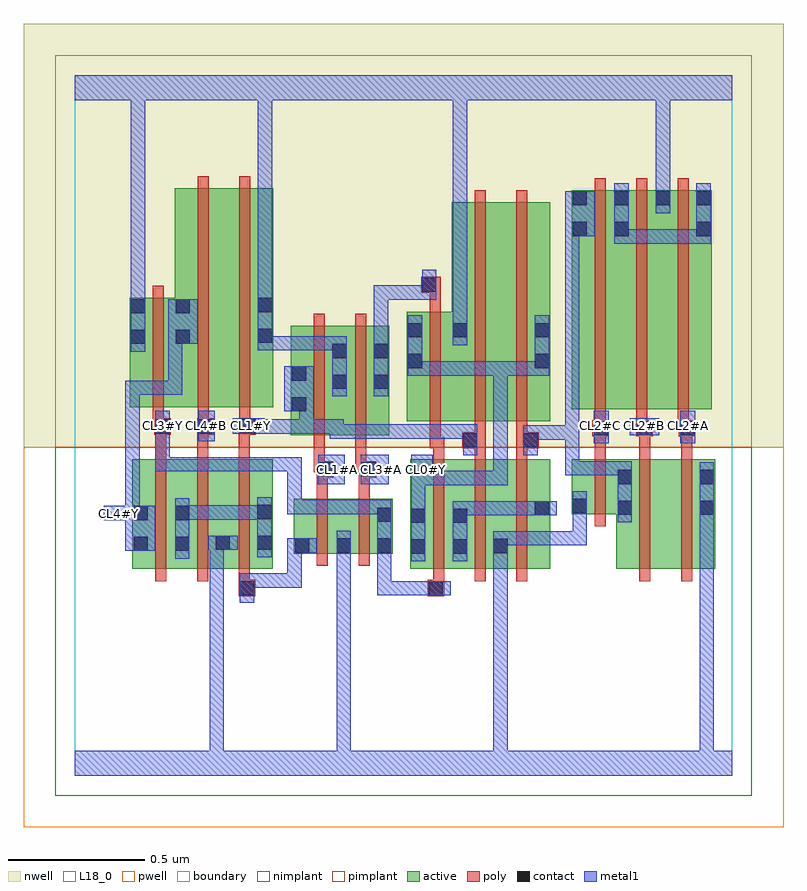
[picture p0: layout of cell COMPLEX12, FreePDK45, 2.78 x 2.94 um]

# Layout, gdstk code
import gdstk
lib = gdstk.Library(unit=1e-6, precision=1e-09)
def R(c, l, rs):  # rectangles x0, y0, x1, y1
    for r in rs: c.add(gdstk.rectangle(r[:2], r[2:], *l))
def A(c, l, x, y, w, h, nx, ny, dx, dy):  # array of equal rectangles
    R(c, l, [(x+i*dx, y+j*dy, x+i*dx+w, y+j*dy+h) for i in range(nx) for j in range(ny)])
active = (1, 0)
pwell = (2, 0)
nwell = (3, 0)
nimplant = (4, 0)
pimplant = (5, 0)
poly = (9, 0)
contact = (10, 0)
metal1 = (11, 0)
L18_0 = (18, 0)
boundary = (235, 0)

complex12 = lib.new_cell('COMPLEX12')
R(complex12, active, [(0.21,0.756,0.27,1.156), (0.21,0.756,0.422,1.156), (0.362,0.756,0.422,1.156), (0.362,0.756,0.57,1.156), (0.51,0.756,0.57,1.156), (0.51,0.756,0.722,1.156), (0.662,0.756,0.722,1.156), (1.224,0.756,1.284,1.156), (1.224,0.756,1.436,1.156), (1.376,0.756,1.436,1.156), (1.376,0.756,1.584,1.156), (1.524,0.756,1.736,1.156), (1.524,0.756,1.584,0.87), (1.676,0.756,1.736,1.156), (1.978,0.756,2.038,1.156), (1.978,0.756,2.158,1.156), (2.158,0.756,2.338,1.156), (2.278,0.756,2.338,1.156), (0.8,0.812,0.86,1.012), (0.8,0.812,1.012,1.012), (0.952,0.812,1.16,1.012), (0.952,0.812,1.012,0.902), (1.1,0.812,1.16,1.012), (1.814,0.956,2.038,1.156), (1.814,0.956,1.874,1.156), (0.788,1.244,0.848,1.644), (0.788,1.244,0.996,1.644), (0.936,1.244,0.996,1.644), (0.936,1.244,1.148,1.644), (1.088,1.244,1.148,1.644), (1.212,1.296,1.272,1.696), (1.212,1.296,1.436,1.696), (1.376,1.296,1.436,2.096), (1.376,1.296,1.556,2.096), (1.556,1.296,1.736,2.096), (1.676,1.296,1.736,2.096), (1.814,1.34,1.874,2.14), (1.814,1.34,2.026,2.14), (1.966,1.34,2.178,2.14), (2.118,1.34,2.326,2.14), (2.266,1.34,2.326,2.14), (0.2,1.346,0.26,1.746), (0.2,1.346,0.424,1.746), (0.364,1.346,0.544,2.146), (0.544,1.346,0.724,2.146), (0.664,1.346,0.724,2.146), (0.364,1.388,0.424,1.822), (1.966,1.4,2.026,2.14), (2.118,1.47,2.178,2.14)])
R(complex12, pwell, [(-0.188,-0.188,2.588,1.2)])
R(complex12, nwell, [(-0.188,1.2,2.588,2.748)])
R(complex12, nimplant, [(-0.072,-0.072,2.472,1.2)])
R(complex12, pimplant, [(-0.072,1.2,2.472,2.632)])
A(complex12, poly, 0.294, 0.712, 0.04, 0.488, 3, 1, 0.152, 0)
A(complex12, poly, 1.308, 0.712, 0.04, 0.488, 3, 1, 0.152, 0)
A(complex12, poly, 0.294, 1.16, 0.04, 0.126, 3, 1, 0.152, 0)
A(complex12, poly, 1.308, 1.16, 0.04, 0.076, 3, 1, 0.152, 0)
A(complex12, poly, 1.898, 1.26, 0.04, 0.076, 3, 1, 0.152, 0)
A(complex12, poly, 1.898, 1.296, 0.04, 0.888, 3, 1, 0.152, 0)
R(complex12, poly, [(0.598,0.656,0.658,0.716), (1.288,0.656,1.348,0.716), (0.598,0.676,0.638,0.752), (1.308,0.676,1.348,0.752), (2.062,0.712,2.102,1.2), (2.214,0.712,2.254,1.2), (0.884,0.768,0.924,1.056), (1.036,0.768,1.076,1.056), (1.898,0.912,1.938,1.2), (0.884,1.016,0.924,1.13), (1.036,1.016,1.076,1.13), (0.884,1.09,0.944,1.15), (1.036,1.09,1.1,1.15), (0.872,1.11,0.924,1.15), (0.872,1.11,0.912,1.24), (0.884,1.11,0.924,1.15), (1.024,1.11,1.076,1.15), (1.024,1.11,1.064,1.24), (1.036,1.11,1.076,1.15), (1.898,1.16,1.938,1.28), (2.062,1.16,2.102,1.28), (2.214,1.16,2.254,1.28), (1.296,1.196,1.336,1.236), (1.296,1.196,1.336,1.236), (1.296,1.196,1.336,1.292), (1.296,1.196,1.348,1.236), (1.414,1.196,1.5,1.256), (1.46,1.196,1.5,1.236), (1.46,1.196,1.5,1.236), (1.612,1.196,1.652,1.236), (1.612,1.196,1.652,1.236), (1.612,1.196,1.694,1.256), (0.872,1.2,0.912,1.688), (1.024,1.2,1.064,1.688), (1.46,1.216,1.5,1.292), (1.612,1.216,1.652,1.292), (1.89,1.24,1.95,1.3), (1.898,1.24,1.938,1.28), (1.898,1.24,1.938,1.28), (2.05,1.24,2.11,1.3), (2.062,1.24,2.102,1.28), (2.062,1.24,2.102,1.28), (2.206,1.24,2.266,1.3), (0.29,1.246,0.35,1.306), (0.446,1.246,0.486,1.286), (0.446,1.246,0.486,1.286), (0.446,1.246,0.506,1.306), (0.598,1.246,0.64,1.286), (0.6,1.246,0.64,1.286), (0.6,1.246,0.66,1.306), (1.296,1.252,1.336,1.74), (1.46,1.252,1.5,2.14), (1.612,1.252,1.652,2.14), (2.202,1.26,2.246,1.3), (2.206,1.26,2.246,1.3), (0.284,1.266,0.324,1.342), (0.284,1.266,0.33,1.306), (0.29,1.266,0.33,1.306), (0.448,1.266,0.488,1.342), (0.6,1.266,0.64,1.342), (0.284,1.302,0.324,1.79), (0.448,1.302,0.488,2.19), (0.6,1.302,0.64,2.19), (1.296,1.7,1.336,1.804), (1.264,1.764,1.336,1.824)])
A(complex12, contact, 1.818, 2.084, 0.052, 0.052, 3, 1, 0.152, 0)
R(complex12, contact, [(0.602,0.66,0.654,0.712), (1.292,0.66,1.344,0.712), (1.228,0.812,1.28,0.864), (1.38,0.812,1.432,0.864), (1.528,0.814,1.58,0.866), (0.804,0.816,0.856,0.868), (0.956,0.816,1.008,0.868), (1.104,0.816,1.156,0.868), (0.214,0.822,0.266,0.874), (0.366,0.822,0.418,0.874), (0.514,0.826,0.566,0.878), (0.666,0.826,0.718,0.878), (1.228,0.924,1.28,0.976), (1.38,0.924,1.432,0.976), (1.104,0.928,1.156,0.98), (0.214,0.934,0.266,0.986), (0.366,0.934,0.418,0.986), (0.666,0.938,0.718,0.99), (1.68,0.952,1.732,1.004), (1.982,0.954,2.034,1.006), (2.282,0.954,2.334,1.006), (1.818,0.96,1.87,1.012), (1.982,1.066,2.034,1.118), (2.282,1.066,2.334,1.118), (0.888,1.094,0.94,1.146), (1.044,1.094,1.096,1.146), (1.418,1.2,1.47,1.252), (1.638,1.2,1.69,1.252), (1.894,1.244,1.946,1.296), (2.054,1.244,2.106,1.296), (2.21,1.244,2.262,1.296), (0.294,1.25,0.346,1.302), (0.45,1.25,0.502,1.302), (0.604,1.25,0.656,1.302), (0.792,1.332,0.844,1.384), (0.94,1.414,0.992,1.466), (1.092,1.414,1.144,1.466), (0.792,1.444,0.844,1.496), (1.216,1.49,1.268,1.542), (1.68,1.49,1.732,1.542), (0.94,1.526,0.992,1.578), (1.092,1.526,1.144,1.578), (0.204,1.578,0.256,1.63), (0.368,1.578,0.42,1.63), (0.668,1.582,0.72,1.634), (1.216,1.602,1.268,1.654), (1.38,1.602,1.432,1.654), (1.68,1.602,1.732,1.654), (0.204,1.69,0.256,1.742), (0.368,1.69,0.42,1.742), (0.668,1.694,0.72,1.746), (1.268,1.768,1.32,1.82), (1.818,1.972,1.87,2.024), (1.97,1.972,2.022,2.024), (2.27,1.972,2.322,2.024), (2.27,2.084,2.322,2.136)])
R(complex12, metal1, [(0,0,2.4,0.092), (0.492,0.04,0.544,0.092), (0.492,0.04,0.544,0.092), (0.492,0.04,0.544,0.092), (0.492,0.04,0.544,0.092), (0.492,0.04,0.544,0.092), (0.492,0.04,0.544,0.092), (0.492,0.04,0.544,0.092), (0.492,0.04,0.544,0.092), (0.492,0.04,0.544,0.878), (0.956,0.04,1.008,0.092), (0.956,0.04,1.008,0.092), (0.956,0.04,1.008,0.092), (0.956,0.04,1.008,0.092), (0.956,0.04,1.008,0.092), (0.956,0.04,1.008,0.092), (0.956,0.04,1.008,0.092), (0.956,0.04,1.008,0.092), (0.956,0.04,1.008,0.092), (0.956,0.04,1.008,0.092), (0.956,0.04,1.008,0.092), (0.956,0.04,1.008,0.092), (0.956,0.04,1.008,0.092), (0.956,0.04,1.008,0.092), (0.956,0.04,1.008,0.092), (0.956,0.04,1.008,0.092), (0.956,0.04,1.008,0.84), (1.528,0.04,1.58,0.092), (1.528,0.04,1.58,0.092), (1.528,0.04,1.58,0.092), (1.528,0.04,1.58,0.092), (1.528,0.04,1.58,0.092), (1.528,0.04,1.58,0.092), (1.528,0.04,1.58,0.092), (1.528,0.04,1.58,0.092), (1.528,0.04,1.58,0.092), (1.528,0.04,1.58,0.092), (1.528,0.04,1.58,0.092), (1.528,0.04,1.58,0.092), (1.528,0.04,1.58,0.838), (2.282,0.04,2.334,0.092), (2.282,0.04,2.334,0.092), (2.282,0.04,2.334,0.092), (2.282,0.04,2.334,0.092), (2.282,0.04,2.334,0.978), (0.602,0.632,0.654,0.74), (1.104,0.66,1.156,0.712), (1.104,0.66,1.156,0.712), (1.104,0.66,1.156,0.712), (1.104,0.66,1.316,0.712), (1.104,0.66,1.156,0.84), (1.264,0.66,1.316,0.712), (1.264,0.66,1.316,0.712), (1.264,0.66,1.372,0.712), (0.602,0.688,0.828,0.74), (0.776,0.688,0.828,0.74), (0.776,0.688,0.828,0.74), (0.776,0.688,0.828,0.74), (0.776,0.688,0.828,0.74), (0.776,0.688,0.828,0.74), (0.776,0.688,0.828,0.74), (0.776,0.688,0.828,0.74), (0.776,0.688,0.828,0.868), (1.228,0.784,1.28,1.004), (1.38,0.784,1.432,1.004), (1.528,0.786,1.58,0.894), (0.956,0.788,1.008,0.896), (1.104,0.788,1.156,0.84), (1.104,0.788,1.156,0.84), (1.104,0.788,1.156,0.84), (1.104,0.788,1.156,0.84), (1.104,0.788,1.156,1.008), (0.366,0.794,0.418,1.014), (0.666,0.798,0.718,1.018), (0.776,0.816,0.884,0.868), (0.184,0.822,0.294,0.986), (0.486,0.826,0.594,0.878), (0.492,0.826,0.544,0.878), (0.492,0.826,0.544,0.878), (0.492,0.826,0.544,0.878), (0.492,0.826,0.544,0.878), (1.528,0.842,1.732,0.894), (1.68,0.842,1.732,0.894), (1.68,0.842,1.732,0.894), (1.68,0.842,1.732,0.894), (1.68,0.842,1.87,0.894), (1.818,0.842,1.87,0.894), (1.818,0.842,1.87,0.894), (1.818,0.842,1.87,0.894), (1.818,0.842,1.87,0.984), (1.982,0.926,2.034,1.146), (2.282,0.926,2.334,0.978), (2.282,0.926,2.334,0.978), (2.282,0.926,2.334,0.978), (2.282,0.926,2.334,0.978), (2.282,0.926,2.334,0.978), (2.282,0.926,2.334,0.978), (2.282,0.926,2.334,0.978), (2.282,0.926,2.334,0.978), (2.282,0.926,2.334,1.146), (1.818,0.932,1.87,1.04), (0.106,0.934,0.236,0.986), (0.184,0.934,0.236,0.986), (0.184,0.934,0.236,1.444), (0.366,0.936,0.456,0.988), (0.404,0.936,0.456,0.988), (0.404,0.936,0.59,0.988), (0.538,0.936,0.59,0.988), (0.538,0.936,0.59,0.988), (0.538,0.936,0.59,0.988), (0.538,0.936,0.718,0.988), (1.228,0.952,1.28,1.114), (1.38,0.952,1.432,1.004), (1.38,0.952,1.432,1.004), (1.38,0.952,1.58,1.004), (1.528,0.952,1.58,1.004), (1.528,0.952,1.704,1.004), (1.652,0.952,1.704,1.004), (1.652,0.952,1.704,1.004), (1.652,0.952,1.76,1.004), (0.776,0.956,0.828,1.008), (0.776,0.956,0.982,1.008), (0.776,0.956,0.828,1.164), (0.93,0.956,0.982,1.008), (0.93,0.956,0.982,1.008), (0.93,0.956,0.982,1.008), (0.93,0.956,1.156,1.008), (1.104,0.956,1.156,1.008), (1.104,0.956,1.156,1.008), (1.228,1.062,1.306,1.174), (1.254,1.062,1.306,1.114), (1.254,1.062,1.306,1.114), (1.254,1.062,1.43,1.114), (1.378,1.062,1.43,1.114), (1.378,1.062,1.43,1.114), (1.378,1.062,1.43,1.114), (1.378,1.062,1.58,1.114), (1.528,1.062,1.58,1.114), (1.528,1.062,1.58,1.514), (0.888,1.066,0.986,1.174), (1.044,1.066,1.146,1.174), (1.982,1.094,2.034,1.15), (1.79,1.098,1.842,1.15), (1.79,1.098,1.842,1.15), (1.79,1.098,1.842,1.15), (1.79,1.098,2.034,1.15), (1.79,1.098,1.842,1.28), (1.982,1.098,2.034,1.15), (0.294,1.112,0.346,1.274), (0.294,1.112,0.48,1.164), (0.428,1.112,0.48,1.164), (0.428,1.112,0.59,1.164), (0.538,1.112,0.59,1.164), (0.538,1.112,0.59,1.164), (0.538,1.112,0.59,1.164), (0.538,1.112,0.82,1.164), (0.768,1.112,0.82,1.164), (0.768,1.112,0.828,1.164), (0.776,1.112,0.828,1.164), (1.418,1.172,1.47,1.28), (1.638,1.172,1.69,1.28), (1.894,1.216,1.95,1.334), (2.21,1.216,2.266,1.334), (0.294,1.222,0.346,1.274), (0.294,1.222,0.346,1.334), (0.45,1.222,0.51,1.334), (1.418,1.228,1.47,1.28), (1.418,1.228,1.47,1.284), (1.638,1.228,1.69,1.28), (1.638,1.228,1.69,1.28), (1.638,1.228,1.842,1.28), (1.79,1.228,1.842,1.28), (1.79,1.228,1.842,2.024), (0.93,1.232,0.982,1.284), (0.93,1.232,0.982,1.284), (0.93,1.232,1.158,1.284), (0.93,1.232,0.982,1.302), (1.106,1.232,1.158,1.284), (1.106,1.232,1.158,1.284), (1.106,1.232,1.158,1.284), (1.106,1.232,1.32,1.284), (1.268,1.232,1.32,1.284), (1.268,1.232,1.32,1.284), (1.268,1.232,1.32,1.284), (1.268,1.232,1.47,1.284), (2.026,1.244,2.134,1.306), (0.576,1.25,0.694,1.306), (0.642,1.25,0.7,1.302), (0.648,1.25,0.7,1.302), (0.648,1.25,0.872,1.302), (0.82,1.25,0.872,1.302), (0.82,1.25,0.982,1.302), (0.82,1.25,0.872,1.384), (0.764,1.332,0.872,1.496), (0.94,1.386,0.992,1.606), (1.092,1.386,1.144,1.606), (0.184,1.392,0.236,1.444), (0.184,1.392,0.236,1.444), (0.184,1.392,0.236,1.444), (0.184,1.392,0.392,1.444), (0.34,1.392,0.392,1.444), (0.34,1.392,0.392,1.63), (1.216,1.462,1.268,1.514), (1.216,1.462,1.268,1.514), (1.216,1.462,1.268,1.682), (1.216,1.462,1.43,1.514), (1.378,1.462,1.43,1.514), (1.378,1.462,1.58,1.514), (1.528,1.462,1.58,1.514), (1.528,1.462,1.58,1.514), (1.528,1.462,1.58,1.514), (1.528,1.462,1.58,1.514), (1.528,1.462,1.58,1.514), (1.528,1.462,1.732,1.514), (1.68,1.462,1.732,1.514), (1.68,1.462,1.732,1.514), (1.68,1.462,1.732,1.682), (0.204,1.55,0.256,1.77), (0.668,1.554,0.72,1.774), (0.668,1.554,0.872,1.606), (0.82,1.554,0.872,1.606), (0.82,1.554,0.872,1.606), (0.82,1.554,0.872,1.606), (0.82,1.554,0.872,1.606), (0.82,1.554,0.872,1.606), (0.82,1.554,0.986,1.606), (0.934,1.554,0.986,1.606), (0.934,1.554,0.992,1.606), (0.94,1.554,0.992,1.606), (0.94,1.554,0.992,1.606), (0.94,1.554,0.992,1.606), (0.94,1.554,0.992,1.606), (1.092,1.554,1.144,1.792), (1.38,1.574,1.432,1.682), (0.34,1.578,0.448,1.742), (1.38,1.63,1.432,2.52), (0.204,1.718,0.256,1.77), (0.204,1.718,0.256,1.77), (0.204,1.718,0.256,1.77), (0.204,1.718,0.256,1.77), (0.204,1.718,0.256,1.77), (0.204,1.718,0.256,1.77), (0.204,1.718,0.256,2.52), (0.668,1.722,0.72,2.52), (1.092,1.74,1.144,1.792), (1.092,1.74,1.32,1.792), (1.268,1.74,1.32,1.792), (1.268,1.74,1.32,1.792), (1.268,1.74,1.32,1.848), (1.97,1.944,2.022,2.164), (1.97,1.944,2.152,1.996), (2.1,1.944,2.152,1.996), (2.1,1.944,2.152,1.996), (2.1,1.944,2.152,1.996), (2.1,1.944,2.322,1.996), (2.27,1.944,2.322,1.996), (2.27,1.944,2.322,1.996), (2.27,1.944,2.322,2.164), (1.79,1.972,1.898,2.136), (2.122,2.056,2.174,2.164), (2.122,2.112,2.174,2.164), (2.122,2.112,2.174,2.164), (2.122,2.112,2.174,2.164), (2.122,2.112,2.174,2.164), (2.122,2.112,2.174,2.52), (0,2.468,2.4,2.56), (0.204,2.468,0.256,2.52), (0.204,2.468,0.256,2.52), (0.204,2.468,0.256,2.52), (0.204,2.468,0.256,2.52), (0.204,2.468,0.256,2.52), (0.204,2.468,0.256,2.52), (0.204,2.468,0.256,2.52), (0.204,2.468,0.256,2.52), (0.204,2.468,0.256,2.52), (0.204,2.468,0.256,2.52), (0.668,2.468,0.72,2.52), (0.668,2.468,0.72,2.52), (0.668,2.468,0.72,2.52), (0.668,2.468,0.72,2.52), (0.668,2.468,0.72,2.52), (0.668,2.468,0.72,2.52), (0.668,2.468,0.72,2.52), (0.668,2.468,0.72,2.52), (1.38,2.468,1.432,2.52), (1.38,2.468,1.432,2.52), (1.38,2.468,1.432,2.52), (1.38,2.468,1.432,2.52), (1.38,2.468,1.432,2.52), (1.38,2.468,1.432,2.52), (1.38,2.468,1.432,2.52), (1.38,2.468,1.432,2.52), (2.122,2.468,2.174,2.52), (2.122,2.468,2.174,2.52), (2.122,2.468,2.174,2.52), (2.122,2.468,2.174,2.52)])
A(complex12, L18_0, 0.934, 1.094, 0.052, 0.052, 3, 1, 0.16, 0)
A(complex12, L18_0, 0.294, 1.254, 0.052, 0.052, 3, 1, 0.16, 0)
A(complex12, L18_0, 1.894, 1.254, 0.052, 0.052, 3, 1, 0.16, 0)
R(complex12, L18_0, [(0,0,2.4,0.092), (0.492,0.04,0.544,0.092), (0.492,0.04,0.544,0.092), (0.492,0.04,0.544,0.092), (0.492,0.04,0.544,0.092), (0.492,0.04,0.544,0.092), (0.492,0.04,0.544,0.092), (0.492,0.04,0.544,0.092), (0.492,0.04,0.544,0.092), (0.492,0.04,0.544,0.878), (0.956,0.04,1.008,0.092), (0.956,0.04,1.008,0.092), (0.956,0.04,1.008,0.092), (0.956,0.04,1.008,0.092), (0.956,0.04,1.008,0.092), (0.956,0.04,1.008,0.092), (0.956,0.04,1.008,0.092), (0.956,0.04,1.008,0.092), (0.956,0.04,1.008,0.092), (0.956,0.04,1.008,0.092), (0.956,0.04,1.008,0.092), (0.956,0.04,1.008,0.092), (0.956,0.04,1.008,0.092), (0.956,0.04,1.008,0.092), (0.956,0.04,1.008,0.092), (0.956,0.04,1.008,0.092), (0.956,0.04,1.008,0.84), (1.528,0.04,1.58,0.092), (1.528,0.04,1.58,0.092), (1.528,0.04,1.58,0.092), (1.528,0.04,1.58,0.092), (1.528,0.04,1.58,0.092), (1.528,0.04,1.58,0.092), (1.528,0.04,1.58,0.092), (1.528,0.04,1.58,0.092), (1.528,0.04,1.58,0.092), (1.528,0.04,1.58,0.092), (1.528,0.04,1.58,0.092), (1.528,0.04,1.58,0.092), (1.528,0.04,1.58,0.838), (2.282,0.04,2.334,0.092), (2.282,0.04,2.334,0.092), (2.282,0.04,2.334,0.092), (2.282,0.04,2.334,0.092), (2.282,0.04,2.334,0.978), (0.602,0.632,0.654,0.74), (1.104,0.66,1.156,0.712), (1.104,0.66,1.156,0.712), (1.104,0.66,1.156,0.712), (1.104,0.66,1.156,0.84), (1.104,0.66,1.316,0.712), (1.264,0.66,1.316,0.712), (1.264,0.66,1.316,0.712), (1.264,0.66,1.372,0.712), (0.602,0.688,0.828,0.74), (0.776,0.688,0.828,0.74), (0.776,0.688,0.828,0.74), (0.776,0.688,0.828,0.74), (0.776,0.688,0.828,0.74), (0.776,0.688,0.828,0.74), (0.776,0.688,0.828,0.74), (0.776,0.688,0.828,0.74), (0.776,0.688,0.828,0.868), (1.228,0.784,1.28,1.004), (1.528,0.786,1.58,0.894), (0.956,0.788,1.008,0.896), (1.104,0.788,1.156,0.84), (1.104,0.788,1.156,0.84), (1.104,0.788,1.156,0.84), (1.104,0.788,1.156,0.84), (1.104,0.788,1.156,1.008), (0.776,0.816,0.884,0.868), (0.184,0.822,0.294,0.986), (0.486,0.826,0.594,0.878), (0.492,0.826,0.544,0.878), (0.492,0.826,0.544,0.878), (0.492,0.826,0.544,0.878), (0.492,0.826,0.544,0.878), (1.528,0.842,1.732,0.894), (1.68,0.842,1.732,0.894), (1.68,0.842,1.732,0.894), (1.68,0.842,1.732,0.894), (1.68,0.842,1.87,0.894), (1.818,0.842,1.87,0.894), (1.818,0.842,1.87,0.894), (1.818,0.842,1.87,0.894), (1.818,0.842,1.87,0.984), (2.282,0.926,2.334,0.978), (2.282,0.926,2.334,0.978), (2.282,0.926,2.334,0.978), (2.282,0.926,2.334,0.978), (2.282,0.926,2.334,0.978), (2.282,0.926,2.334,0.978), (2.282,0.926,2.334,0.978), (2.282,0.926,2.334,0.978), (2.282,0.926,2.334,1.146), (1.818,0.932,1.87,1.04), (0.106,0.934,0.236,0.986), (0.134,0.934,0.186,0.986), (0.184,0.934,0.236,0.986), (0.184,0.934,0.236,1.444), (1.228,0.952,1.28,1.114), (0.776,0.956,0.828,1.008), (0.776,0.956,0.828,1.164), (0.776,0.956,0.982,1.008), (0.93,0.956,0.982,1.008), (0.93,0.956,0.982,1.008), (0.93,0.956,0.982,1.008), (0.93,0.956,1.156,1.008), (1.104,0.956,1.156,1.008), (1.104,0.956,1.156,1.008), (1.228,1.062,1.306,1.174), (1.254,1.062,1.306,1.114), (1.254,1.062,1.306,1.114), (1.254,1.062,1.43,1.114), (1.378,1.062,1.43,1.114), (1.378,1.062,1.43,1.114), (1.378,1.062,1.43,1.114), (1.378,1.062,1.58,1.114), (1.528,1.062,1.58,1.114), (1.528,1.062,1.58,1.514), (0.888,1.066,0.986,1.174), (1.044,1.066,1.146,1.174), (0.294,1.112,0.346,1.274), (0.294,1.112,0.48,1.164), (0.428,1.112,0.48,1.164), (0.428,1.112,0.59,1.164), (0.538,1.112,0.59,1.164), (0.538,1.112,0.59,1.164), (0.538,1.112,0.59,1.164), (0.538,1.112,0.82,1.164), (0.768,1.112,0.82,1.164), (0.768,1.112,0.828,1.164), (0.776,1.112,0.828,1.164), (1.418,1.172,1.47,1.28), (1.894,1.216,1.95,1.334), (2.21,1.216,2.266,1.334), (0.294,1.222,0.346,1.274), (0.294,1.222,0.346,1.334), (0.45,1.222,0.51,1.334), (1.418,1.228,1.47,1.28), (1.418,1.228,1.47,1.284), (0.93,1.232,0.982,1.284), (0.93,1.232,0.982,1.284), (0.93,1.232,0.982,1.302), (0.93,1.232,1.158,1.284), (1.106,1.232,1.158,1.284), (1.106,1.232,1.158,1.284), (1.106,1.232,1.158,1.284), (1.106,1.232,1.32,1.284), (1.268,1.232,1.32,1.284), (1.268,1.232,1.32,1.284), (1.268,1.232,1.32,1.284), (1.268,1.232,1.47,1.284), (2.026,1.244,2.134,1.306), (0.576,1.25,0.694,1.306), (0.642,1.25,0.7,1.302), (0.648,1.25,0.7,1.302), (0.648,1.25,0.872,1.302), (0.82,1.25,0.872,1.302), (0.82,1.25,0.982,1.302), (0.82,1.25,0.872,1.384), (0.764,1.332,0.872,1.496), (0.94,1.386,0.992,1.606), (1.092,1.386,1.144,1.606), (0.184,1.392,0.236,1.444), (0.184,1.392,0.236,1.444), (0.184,1.392,0.236,1.444), (0.184,1.392,0.392,1.444), (0.34,1.392,0.392,1.444), (0.34,1.392,0.392,1.63), (1.216,1.462,1.268,1.514), (1.216,1.462,1.268,1.514), (1.216,1.462,1.268,1.682), (1.216,1.462,1.43,1.514), (1.378,1.462,1.43,1.514), (1.378,1.462,1.58,1.514), (1.528,1.462,1.58,1.514), (1.528,1.462,1.58,1.514), (1.528,1.462,1.58,1.514), (1.528,1.462,1.58,1.514), (1.528,1.462,1.58,1.514), (1.528,1.462,1.732,1.514), (1.68,1.462,1.732,1.514), (1.68,1.462,1.732,1.514), (1.68,1.462,1.732,1.682), (0.204,1.55,0.256,1.77), (0.668,1.554,0.72,1.774), (0.668,1.554,0.872,1.606), (0.82,1.554,0.872,1.606), (0.82,1.554,0.872,1.606), (0.82,1.554,0.872,1.606), (0.82,1.554,0.872,1.606), (0.82,1.554,0.872,1.606), (0.82,1.554,0.986,1.606), (0.934,1.554,0.986,1.606), (0.934,1.554,0.992,1.606), (0.94,1.554,0.992,1.606), (0.94,1.554,0.992,1.606), (0.94,1.554,0.992,1.606), (0.94,1.554,0.992,1.606), (1.092,1.554,1.144,1.792), (1.38,1.574,1.432,1.682), (0.34,1.578,0.448,1.742), (1.38,1.63,1.432,2.52), (0.204,1.718,0.256,1.77), (0.204,1.718,0.256,1.77), (0.204,1.718,0.256,1.77), (0.204,1.718,0.256,1.77), (0.204,1.718,0.256,1.77), (0.204,1.718,0.256,1.77), (0.204,1.718,0.256,2.52), (0.668,1.722,0.72,2.52), (1.092,1.74,1.144,1.792), (1.092,1.74,1.32,1.792), (1.268,1.74,1.32,1.792), (1.268,1.74,1.32,1.792), (1.268,1.74,1.32,1.848), (2.122,2.056,2.174,2.164), (2.122,2.112,2.174,2.164), (2.122,2.112,2.174,2.164), (2.122,2.112,2.174,2.164), (2.122,2.112,2.174,2.164), (2.122,2.112,2.174,2.52), (0,2.468,2.4,2.56), (0.204,2.468,0.256,2.52), (0.204,2.468,0.256,2.52), (0.204,2.468,0.256,2.52), (0.204,2.468,0.256,2.52), (0.204,2.468,0.256,2.52), (0.204,2.468,0.256,2.52), (0.204,2.468,0.256,2.52), (0.204,2.468,0.256,2.52), (0.204,2.468,0.256,2.52), (0.204,2.468,0.256,2.52), (0.668,2.468,0.72,2.52), (0.668,2.468,0.72,2.52), (0.668,2.468,0.72,2.52), (0.668,2.468,0.72,2.52), (0.668,2.468,0.72,2.52), (0.668,2.468,0.72,2.52), (0.668,2.468,0.72,2.52), (0.668,2.468,0.72,2.52), (1.38,2.468,1.432,2.52), (1.38,2.468,1.432,2.52), (1.38,2.468,1.432,2.52), (1.38,2.468,1.432,2.52), (1.38,2.468,1.432,2.52), (1.38,2.468,1.432,2.52), (1.38,2.468,1.432,2.52), (1.38,2.468,1.432,2.52), (2.122,2.468,2.174,2.52), (2.122,2.468,2.174,2.52), (2.122,2.468,2.174,2.52), (2.122,2.468,2.174,2.52)])
R(complex12, boundary, [(0,0,2.4,2.56)])
complex12.add(gdstk.Label('CL0#Y', (1.28,1.12), layer=11, texttype=0))
complex12.add(gdstk.Label('CL1#A', (0.96,1.12), layer=11, texttype=0))
complex12.add(gdstk.Label('CL1#Y', (0.64,1.28), layer=11, texttype=0))
complex12.add(gdstk.Label('CL2#A', (2.24,1.28), layer=11, texttype=0))
complex12.add(gdstk.Label('CL2#B', (2.08,1.28), layer=11, texttype=0))
complex12.add(gdstk.Label('CL2#C', (1.92,1.28), layer=11, texttype=0))
complex12.add(gdstk.Label('CL3#A', (1.12,1.12), layer=11, texttype=0))
complex12.add(gdstk.Label('CL3#Y', (0.32,1.28), layer=11, texttype=0))
complex12.add(gdstk.Label('CL4#B', (0.48,1.28), layer=11, texttype=0))
complex12.add(gdstk.Label('CL4#Y', (0.16,0.96), layer=11, texttype=0))

lib.write_gds('COMPLEX12.gds')
